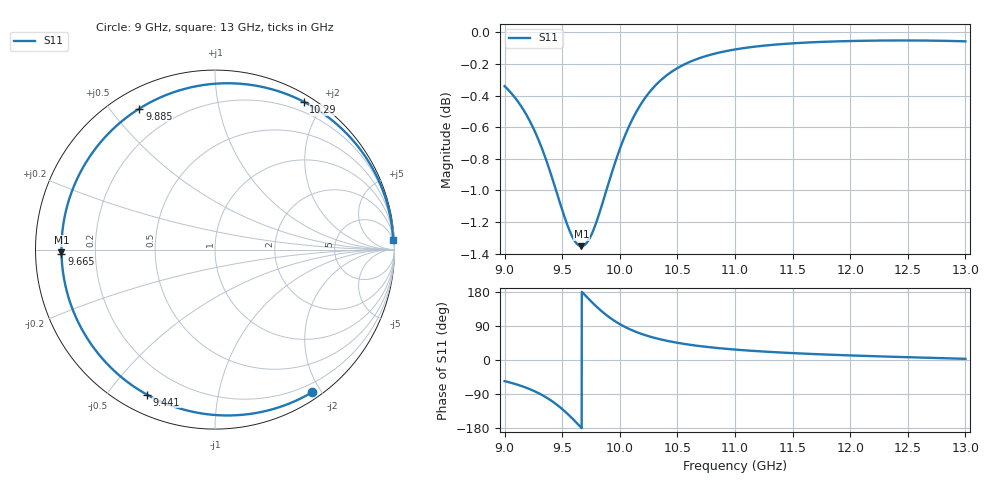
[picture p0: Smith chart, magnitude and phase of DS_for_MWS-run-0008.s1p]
! TOUCHSTONE file generated by CST DESIGN STUDIO
! Date and time: Wed Feb  5 13:43:24 2025
! Project name: C:\Work\MatlabApps\UnitCellOptimizationMatlab\CST\unitcell.cst
! Tree item: Tasks\Sweep1\SPara1\S-Parameters
! Header version: 2024
! Port assignment regex: !\s*Touchstone port\s*([0-9]+)\s*=\s*(CST MWS port|CST DES external port|CST DES block port)\s*(.+)\s* \(\"(.*)\"\)(\s*mode\s*([0-9]+))?.*
! Touchstone port assignment:
! Touchstone port 1 = CST DES external port 1 ("")
# GHz S MA R 50
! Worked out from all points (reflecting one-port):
!   4001 points, 9 GHz to 13 GHz, reference 50 ohm
!   lowest |S11| = -1.4 dB at 9.667 GHz (marker M1), VSWR 12.86, Z = 3.89 - j0.405 ohm
!   phase of S11 starts at -56 deg and turns -301 deg over the sweep
!   S11 on the Smith chart (normalised r, x): 9 GHz: 0.09, -1.89; 9.441 GHz: 0.08, -0.63; 9.665 GHz: 0.08, -0.01; 9.885 GHz: 0.08, +0.60; 10.29 GHz: 0.08, +1.76; 13 GHz: 4, +36
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9  0.9615 -55.8
9.113  0.9511 -65.3
9.225  0.9365 -77.7
9.345  0.9145 -95.8
9.395  0.9035 -105.2
9.441  0.8926 -115.1
9.5  0.8786 -129.5
9.544  0.8692 -141.5
9.59  0.8613 -155.0
9.628  0.8572 -166.7
9.665  0.8557 -178.4
9.667  0.8557 -179.1
9.713  0.8578 166.4
9.761  0.8641 151.6
9.824  0.8769 133.6
9.885  0.8916 118.2
9.94  0.905 106.1
10  0.9185 94.7
10.07  0.9321 83.6
10.141  0.9434 74.2
10.294  0.9608 59.0
10.5  0.9743 45.4
10.719  0.9822 35.8
11  0.9876 27.5
11.5  0.992 18.2
12  0.9937 12.1
12.5  0.9941 7.3
13  0.9935 3.1
